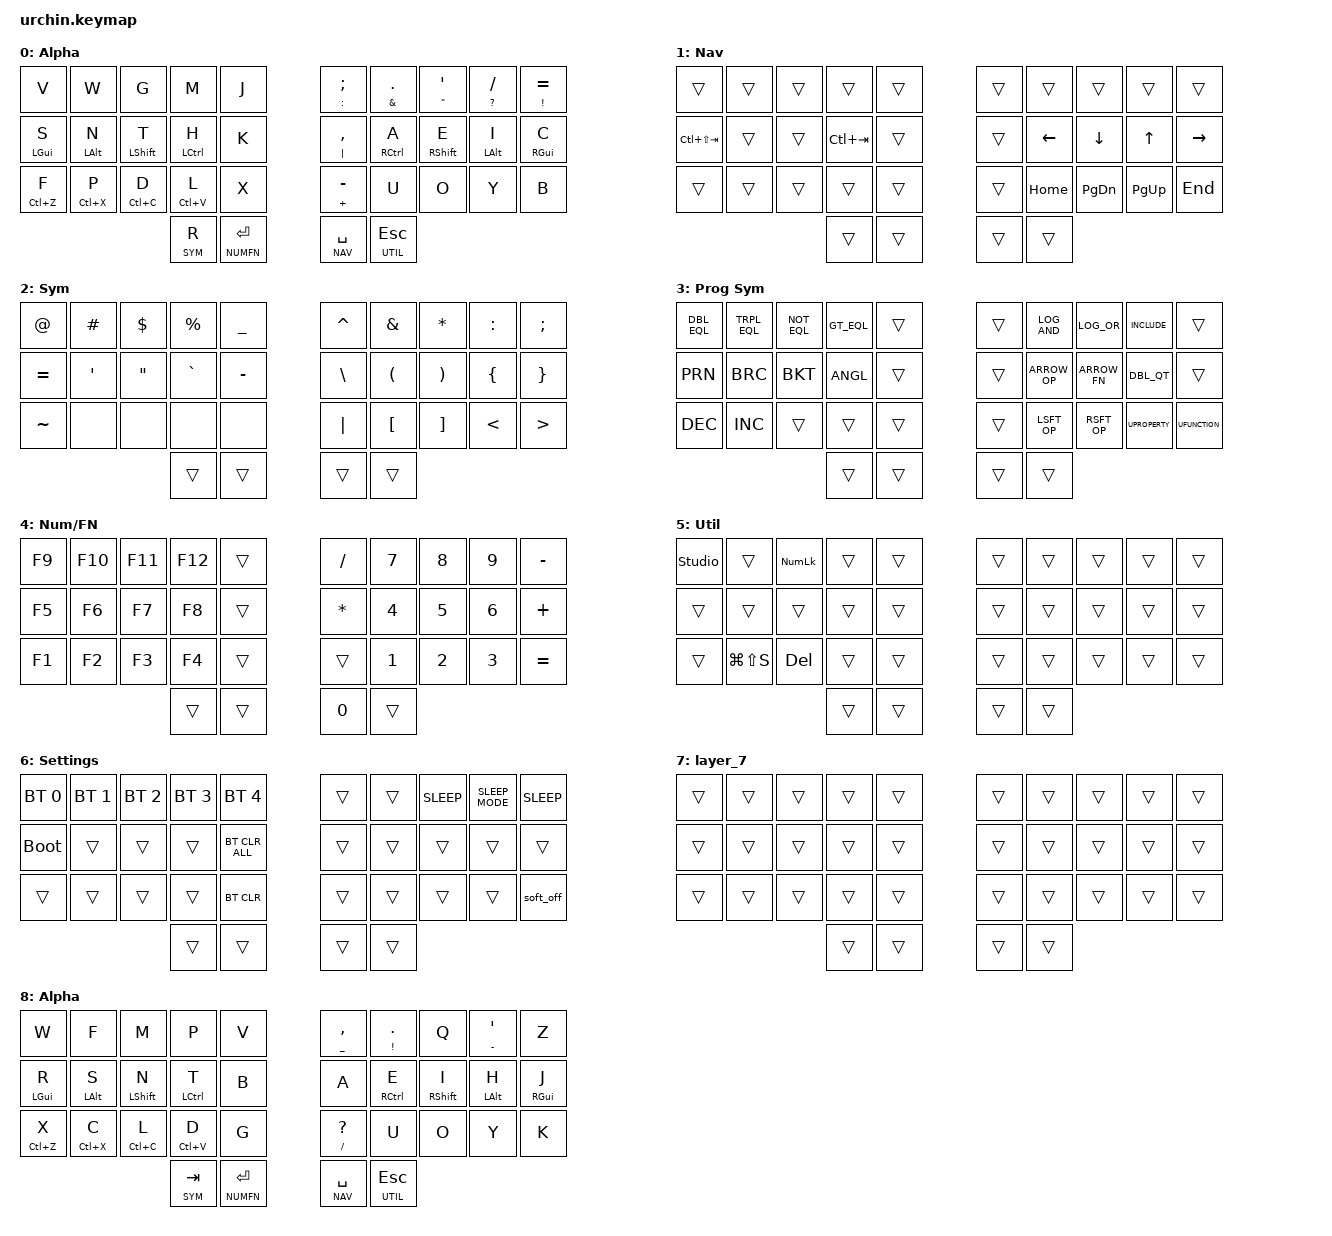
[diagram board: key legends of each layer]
/*
 * Copyright (c) 2020 The ZMK Contributors
 *
 * SPDX-License-Identifier: MIT
 */

#undef ZMK_BEHAVIORS_KEEP_ALL

#include "layers.conf"
#include "macros.conf"
#include "combos.conf"
#include <behaviors.dtsi>
#include <dt-bindings/zmk/bt.h>
#include <dt-bindings/zmk/keys.h>

// Using layer taps on thumbs, having quick tap as well helps w/ repeating space/backspace

&lt { quick-tap-ms = <200>; };

/ {
    behaviors {
        hm: homerow_mods {
            compatible = "zmk,behavior-hold-tap";
            #binding-cells = <2>;
            tapping-term-ms = <200>;
            flavor = "tap-preferred";
            bindings = <&kp>, <&kp>;
        };

        kp_sl: behavior_kp_sl {
            compatible = "zmk,behavior-hold-tap";
            #binding-cells = <2>;
            flavor = "hold-preferred";
            tapping-term-ms = <200>;
            bindings = <&sl>, <&kp>;
        };

        ht: behavior_hold_tap_key {
            compatible = "zmk,behavior-hold-tap";
            #binding-cells = <2>;
            flavor = "hold-preferred";
            tapping-term-ms = <200>;
            bindings = <&kp>, <&kp>;
        };
    };

    conditional_layers {
        compatible = "zmk,conditional-layers";

        settings_trigger {
            if-layers = <1 4>;
            then-layer = <6>;
        };
    };

    combos {
        compatible = "zmk,combos";

        KP_Z {
            bindings = <&kp Z>;
            key-positions = <0 1>;
        };

        KP_Q {
            bindings = <&kp Q>;
            key-positions = <1 2>;
        };

        KP_TAB {
            bindings = <&kp TAB>;
            key-positions = <22 23>;
        };
    };

    keymap {
        compatible = "zmk,keymap";

        default_layer {
            display-name = "Alpha";
            bindings = <
  &kp V        &kp W        &kp G        &kp M            &kp J    &ht COLON SEMICOLON  &ht AMPERSAND PERIOD  &ht DOUBLE_QUOTES SINGLE_QUOTE  &ht QUESTION SLASH  &ht EXCLAMATION EQUAL
  &hm LGUI S   &hm LALT N   &hm LSHFT T  &hm LCTRL H      &kp K    &ht PIPE COMMA       &hm RCTRL A           &hm RSHFT E                     &hm LALT I          &hm RGUI C
  &mt LC(Z) F  &mt LC(X) P  &mt LC(C) D  &mt LC(V) L      &kp X    &ht PLUS MINUS       &kp U                 &kp O                           &kp Y               &kp B
                            &lt SYM R    &lt NUMFN ENTER                                &lt NAV SPACE         &lt UTIL ESC
            >;
        };

        nav_layer {
            display-name = "Nav";
            bindings = <
  &trans           &trans  &trans  &trans       &trans    &trans  &trans    &trans     &trans     &trans
  &kp LC(LS(TAB))  &trans  &trans  &kp LC(TAB)  &trans    &trans  &kp LEFT  &kp DOWN   &kp UP     &kp RIGHT
  &trans           &trans  &trans  &trans       &trans    &trans  &kp HOME  &kp PG_DN  &kp PG_UP  &kp END
                           &trans  &trans                         &trans    &trans
            >;
        };

        sym_layer {
            display-name = "Sym";
            bindings = <
  &kp AT     &kp HASH  &kp DLLR  &kp PRCNT  &kp UNDER    &kp CARET  &kp AMPS  &kp STAR  &kp COLON  &kp SEMI
  &kp EQUAL  &kp APOS  &kp DQT   &kp GRAVE  &kp MINUS    &kp BSLH   &kp LPAR  &kp RPAR  &kp LBRC   &kp RBRC
  &kp TILDE  &none     &none     &none      &none        &kp PIPE   &kp LBKT  &kp RBKT  &kp LT     &kp GT
                       &trans    &trans                             &trans    &trans
            >;
        };

        prog_sym_layer {
            display-name = "Prog Sym";
            bindings = <
  &DBL_EQL  &TRPL_EQL  &NOT_EQL  &GT_EQL  &trans    &trans  &LOG_AND   &LOG_OR    &INCLUDE    &trans
  &PRN      &BRC       &BKT      &ANGL    &trans    &trans  &ARROW_OP  &ARROW_FN  &DBL_QT     &trans
  &DEC      &INC       &trans    &trans   &trans    &trans  &LSFT_OP   &RSFT_OP   &UPROPERTY  &UFUNCTION
                       &trans    &trans                     &trans     &trans
            >;
        };

        numfn_layer {
            display-name = "Num/FN";
            bindings = <
  &kp F9  &kp F10  &kp F11  &kp F12  &trans    &kp SLASH  &kp N7  &kp N8  &kp N9  &kp MINUS
  &kp F5  &kp F6   &kp F7   &kp F8   &trans    &kp STAR   &kp N4  &kp N5  &kp N6  &kp PLUS
  &kp F1  &kp F2   &kp F3   &kp F4   &trans    &trans     &kp N1  &kp N2  &kp N3  &kp EQUAL
                   &trans   &trans                        &kp N0  &trans
            >;
        };

        util_layer {
            display-name = "Util";
            bindings = <
  &studio_unlock  &trans         &kp KP_NUMLOCK  &trans  &trans    &trans  &trans  &trans  &trans  &trans
  &trans          &trans         &trans          &trans  &trans    &trans  &trans  &trans  &trans  &trans
  &trans          &kp LG(LS(S))  &kp DEL         &trans  &trans    &trans  &trans  &trans  &trans  &trans
                                 &trans          &trans                    &trans  &trans
            >;
        };

        Settings {
            display-name = "Settings";
            bindings = <
  &bt BT_SEL 0  &bt BT_SEL 1  &bt BT_SEL 2  &bt BT_SEL 3  &bt BT_SEL 4      &trans  &trans  &kp K_SLEEP  &kp C_SLEEP_MODE  &kp C_SLEEP
  &bootloader   &trans        &trans        &trans        &bt BT_CLR_ALL    &trans  &trans  &trans       &trans            &trans
  &trans        &trans        &trans        &trans        &bt BT_CLR        &trans  &trans  &trans       &trans            &soft_off
                              &trans        &trans                                  &trans  &trans
            >;
        };

        layer_7 {
            bindings = <
  &trans  &trans  &trans  &trans  &trans    &trans  &trans  &trans  &trans  &trans
  &trans  &trans  &trans  &trans  &trans    &trans  &trans  &trans  &trans  &trans
  &trans  &trans  &trans  &trans  &trans    &trans  &trans  &trans  &trans  &trans
                  &trans  &trans                    &trans  &trans
            >;
        };

        layer_8 {
            display-name = "Alpha";
            bindings = <
  &kp W        &kp F        &kp M        &kp P            &kp V    &ht UNDER COMMA  &ht EXCL DOT   &kp Q         &ht MINUS SQT  &kp Z
  &hm LGUI R   &hm LALT S   &hm LSHFT N  &hm LCTRL T      &kp B    &kp A            &hm RCTRL E    &hm RSHFT I   &hm LALT H     &hm RGUI J
  &mt LC(Z) X  &mt LC(X) C  &mt LC(C) L  &mt LC(V) D      &kp G    &ht SLASH QMARK  &kp U          &kp O         &kp Y          &kp K
                            &lt SYM TAB  &lt NUMFN ENTER                            &lt NAV SPACE  &lt UTIL ESC
            >;
        };
    };
};
